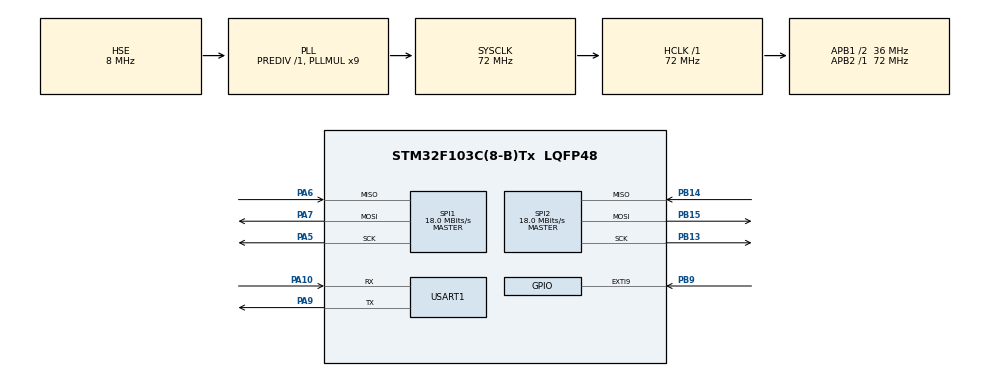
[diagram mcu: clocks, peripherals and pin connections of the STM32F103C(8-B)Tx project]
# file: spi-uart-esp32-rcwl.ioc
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Mcu.Family=STM32F1
RCC.PLLSourceVirtual=RCC_PLLSOURCE_HSE
PA6.Mode=Full_Duplex_Master
FREERTOS.Tasks01=defaultTask,24,128,StartDefaultTask,Default,NULL,Dynamic,NULL,NULL
PA7.Mode=Full_Duplex_Master
PD1-OSC_OUT.Mode=HSE-External-Oscillator
PA10.Mode=Asynchronous
SPI1.VirtualType=VM_MASTER
SPI2.VirtualType=VM_MASTER
PD0-OSC_IN.Signal=RCC_OSC_IN
RCC.APB1CLKDivider=RCC_HCLK_DIV2
PB15.Signal=SPI2_MOSI
PB13.Signal=SPI2_SCK
RCC.SYSCLKSource=RCC_SYSCLKSOURCE_PLLCLK
ProjectManager.StackSize=0x400
VP_FREERTOS_VS_CMSIS_V2.Mode=CMSIS_V2
PD1-OSC_OUT.Signal=RCC_OSC_OUT
PA13.Signal=SYS_JTMS-SWDIO
PA9.Mode=Asynchronous
ProjectManager.TargetToolchain=Makefile
SPI1.Direction=SPI_DIRECTION_2LINES
RCC.HCLKFreq_Value=72000000
RCC.APB2TimFreq_Value=72000000
PA9.Signal=USART1_TX
SPI1.CalculateBaudRate=18.0 MBits/s
PB9.GPIO_ModeDefaultEXTI=GPIO_MODE_IT_RISING
RCC.USBFreq_Value=72000000
RCC.AHBFreq_Value=72000000
PD0-OSC_IN.Mode=HSE-External-Oscillator
PB14.Signal=SPI2_MISO
PA5.Signal=SPI1_SCK
board=custom
RCC.PLLMUL=RCC_PLL_MUL9
PB15.Mode=Full_Duplex_Master
NVIC.SPI1_IRQn=true\:5\:0\:false\:false\:true\:true\:true\:true
RCC.APB2Freq_Value=72000000
SPI1.Mode=SPI_MODE_MASTER
PA14.Mode=Serial_Wire
PB14.Mode=Full_Duplex_Master
SPI2.CalculateBaudRate=18.0 MBits/s
NVIC.SPI2_IRQn=true\:5\:0\:false\:false\:true\:true\:true\:true
PA13.Mode=Serial_Wire
Mcu.Name=STM32F103C(8-B)Tx
RCC.SYSCLKFreq_VALUE=72000000
Mcu.Package=LQFP48
PB9.Signal=GPXTI9
PA6.Signal=SPI1_MISO
NVIC.TimeBase=TIM4_IRQn
SPI2.Mode=SPI_MODE_MASTER
USART1.VirtualMode=VM_ASYNC
NVIC.TimeBaseIP=TIM4
NVIC.EXTI9_5_IRQn=true\:5\:0\:false\:false\:true\:true\:true\:true
PA10.Signal=USART1_RX
PA14.Signal=SYS_JTCK-SWCLK
PB9.GPIO_PuPd=GPIO_PULLDOWN
ProjectManager.HeapSize=0x200
VP_SYS_VS_tim4.Mode=TIM4
NVIC.PriorityGroup=NVIC_PRIORITYGROUP_4
RCC.APB1TimFreq_Value=72000000
SPI2.Direction=SPI_DIRECTION_2LINES
PB13.Mode=Full_Duplex_Master
NVIC.USART1_IRQn=true\:5\:0\:false\:false\:true\:true\:true\:true
NVIC.TIM4_IRQn=true\:0\:0\:false\:false\:true\:false\:false\:true
RCC.APB1Freq_Value=36000000
SPI1.BaudRatePrescaler=SPI_BAUDRATEPRESCALER_4
NVIC.RCC_IRQn=true\:5\:0\:false\:false\:true\:true\:true\:false
PA5.Mode=Full_Duplex_Master
PA7.Signal=SPI1_MOSI

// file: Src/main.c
/* USER CODE BEGIN Header */
/**
  ******************************************************************************
  * @file           : main.c
  * @brief          : Main program body
  ******************************************************************************
  * @attention
  *
  * <h2><center>&copy; Copyright (c) 2020 STMicroelectronics.
  * All rights reserved.</center></h2>
  *
  * This software component is licensed by ST under BSD 3-Clause license,
  * the "License"; You may not use this file except in compliance with the
  * License. You may obtain a copy of the License at:
  *                        opensource.org/licenses/BSD-3-Clause
  *
  ******************************************************************************
  */
/* USER CODE END Header */

#include "main.h"
#include "cmsis_os.h"

/* USER CODE BEGIN Includes */
#include <FreeRTOSConfig.h>
#include <FreeRTOS.h>
#include <stdio.h>
#include <stdarg.h>
#include <string.h>
#include <task.h>
#include <event_groups.h>

/* USER CODE END Includes */

SPI_HandleTypeDef hspi1;
SPI_HandleTypeDef hspi2;

UART_HandleTypeDef huart1;

/* Definitions for defaultTask */
osThreadId_t defaultTaskHandle;
const osThreadAttr_t defaultTask_attributes = {
  .name = "defaultTask",
  .priority = (osPriority_t) osPriorityNormal,
  .stack_size = 128 * 4
};
/* USER CODE BEGIN PV */
static EventGroupHandle_t xEvtGrpGPIOInt;
#define EVENT_BIT_HUMAN_DETECT 0x01
#define EVENT_BITS_GPIO 0xFFFF
#define APP_VERSION "v0.0.1 20200419 BLUSOFT"
/* USER CODE END PV */

void SystemClock_Config(void);
static void MX_GPIO_Init(void);
static void MX_SPI1_Init(void);
static void MX_SPI2_Init(void);
static void MX_USART1_UART_Init(void);
void StartDefaultTask(void *argument);

/* USER CODE BEGIN PFP */
void StartDefaultTask(void *argument);
/* USER CODE END PFP */

/* USER CODE BEGIN 0 */
uint8_t tx_buff[128] = {0};
uint8_t rx_buff[128] = {0};
static void Println(char *fmt, ...){
    va_list argptr;
    va_start(argptr, fmt);
    int len = vsnprintf(tx_buff, 126, fmt, argptr);
    va_end(argptr);
    tx_buff[len++] = '\r';
    tx_buff[len++] = '\n';
    tx_buff[len] = 0;
    HAL_UART_Transmit_IT(&huart1, (uint8_t *)tx_buff, len);
}

static void Print(char *fmt, ...){
    va_list argptr;
    va_start(argptr, fmt);
    int len = vsnprintf(tx_buff, 128, fmt, argptr);
    va_end(argptr);
    HAL_UART_Transmit_IT(&huart1, (uint8_t *)tx_buff, len);
}
/* USER CODE END 0 */

int main(void)
{

  /* MCU Configuration--------------------------------------------------------*/

  /* Reset of all peripherals, Initializes the Flash interface and the Systick. */
  HAL_Init();

  /* Configure the system clock */
  SystemClock_Config();

  /* Initialize all configured peripherals */
  MX_GPIO_Init();
  MX_SPI1_Init();
  MX_SPI2_Init();
  MX_USART1_UART_Init();
  /* USER CODE BEGIN 2 */
  xEvtGrpGPIOInt = xEventGroupCreate();
  /* USER CODE END 2 */

  /* Init scheduler */
  osKernelInitialize();

  /* Create the thread(s) */
  /* creation of defaultTask */
  defaultTaskHandle = osThreadNew(StartDefaultTask, NULL, &defaultTask_attributes);

  /* Start scheduler */
  osKernelStart();

  /* We should never get here as control is now taken by the scheduler */
  /* Infinite loop */
  while (1)
  {

  }
}

void SystemClock_Config(void)
{
  RCC_OscInitTypeDef RCC_OscInitStruct = {0};
  RCC_ClkInitTypeDef RCC_ClkInitStruct = {0};

  /** Initializes the CPU, AHB and APB busses clocks
  */
  RCC_OscInitStruct.OscillatorType = RCC_OSCILLATORTYPE_HSE;
  RCC_OscInitStruct.HSEState = RCC_HSE_ON;
  RCC_OscInitStruct.HSEPredivValue = RCC_HSE_PREDIV_DIV1;
  RCC_OscInitStruct.HSIState = RCC_HSI_ON;
  RCC_OscInitStruct.PLL.PLLState = RCC_PLL_ON;
  RCC_OscInitStruct.PLL.PLLSource = RCC_PLLSOURCE_HSE;
  RCC_OscInitStruct.PLL.PLLMUL = RCC_PLL_MUL9;
  if (HAL_RCC_OscConfig(&RCC_OscInitStruct) != HAL_OK)
  {
    Error_Handler();
  }
  /** Initializes the CPU, AHB and APB busses clocks
  */
  RCC_ClkInitStruct.ClockType = RCC_CLOCKTYPE_HCLK|RCC_CLOCKTYPE_SYSCLK
                              |RCC_CLOCKTYPE_PCLK1|RCC_CLOCKTYPE_PCLK2;
  RCC_ClkInitStruct.SYSCLKSource = RCC_SYSCLKSOURCE_PLLCLK;
  RCC_ClkInitStruct.AHBCLKDivider = RCC_SYSCLK_DIV1;
  RCC_ClkInitStruct.APB1CLKDivider = RCC_HCLK_DIV2;
  RCC_ClkInitStruct.APB2CLKDivider = RCC_HCLK_DIV1;

  if (HAL_RCC_ClockConfig(&RCC_ClkInitStruct, FLASH_LATENCY_2) != HAL_OK)
  {
    Error_Handler();
  }
}

static void MX_SPI1_Init(void)
{

  /* SPI1 parameter configuration*/
  hspi1.Instance = SPI1;
  hspi1.Init.Mode = SPI_MODE_MASTER;
  hspi1.Init.Direction = SPI_DIRECTION_2LINES;
  hspi1.Init.DataSize = SPI_DATASIZE_8BIT;
  hspi1.Init.CLKPolarity = SPI_POLARITY_LOW;
  hspi1.Init.CLKPhase = SPI_PHASE_1EDGE;
  hspi1.Init.NSS = SPI_NSS_SOFT;
  hspi1.Init.BaudRatePrescaler = SPI_BAUDRATEPRESCALER_4;
  hspi1.Init.FirstBit = SPI_FIRSTBIT_MSB;
  hspi1.Init.TIMode = SPI_TIMODE_DISABLE;
  hspi1.Init.CRCCalculation = SPI_CRCCALCULATION_DISABLE;
  hspi1.Init.CRCPolynomial = 10;
  if (HAL_SPI_Init(&hspi1) != HAL_OK)
  {
    Error_Handler();
  }

}

static void MX_SPI2_Init(void)
{

  /* SPI2 parameter configuration*/
  hspi2.Instance = SPI2;
  hspi2.Init.Mode = SPI_MODE_MASTER;
  hspi2.Init.Direction = SPI_DIRECTION_2LINES;
  hspi2.Init.DataSize = SPI_DATASIZE_8BIT;
  hspi2.Init.CLKPolarity = SPI_POLARITY_LOW;
  hspi2.Init.CLKPhase = SPI_PHASE_1EDGE;
  hspi2.Init.NSS = SPI_NSS_SOFT;
  hspi2.Init.BaudRatePrescaler = SPI_BAUDRATEPRESCALER_2;
  hspi2.Init.FirstBit = SPI_FIRSTBIT_MSB;
  hspi2.Init.TIMode = SPI_TIMODE_DISABLE;
  hspi2.Init.CRCCalculation = SPI_CRCCALCULATION_DISABLE;
  hspi2.Init.CRCPolynomial = 10;
  if (HAL_SPI_Init(&hspi2) != HAL_OK)
  {
    Error_Handler();
  }

}

static void MX_USART1_UART_Init(void)
{

  huart1.Instance = USART1;
  huart1.Init.BaudRate = 115200;
  huart1.Init.WordLength = UART_WORDLENGTH_8B;
  huart1.Init.StopBits = UART_STOPBITS_1;
  huart1.Init.Parity = UART_PARITY_NONE;
  huart1.Init.Mode = UART_MODE_TX_RX;
  huart1.Init.HwFlowCtl = UART_HWCONTROL_NONE;
  huart1.Init.OverSampling = UART_OVERSAMPLING_16;
  if (HAL_UART_Init(&huart1) != HAL_OK)
  {
    Error_Handler();
  }

}

static void MX_GPIO_Init(void)
{
  GPIO_InitTypeDef GPIO_InitStruct = {0};

  /* GPIO Ports Clock Enable */
  __HAL_RCC_GPIOD_CLK_ENABLE();
  __HAL_RCC_GPIOA_CLK_ENABLE();
  __HAL_RCC_GPIOB_CLK_ENABLE();

  /*Configure GPIO pin : PB9 */
  GPIO_InitStruct.Pin = GPIO_PIN_9;
  GPIO_InitStruct.Mode = GPIO_MODE_IT_RISING;
  GPIO_InitStruct.Pull = GPIO_PULLDOWN;
  HAL_GPIO_Init(GPIOB, &GPIO_InitStruct);

  /* EXTI interrupt init*/
  HAL_NVIC_SetPriority(EXTI9_5_IRQn, 5, 0);
  HAL_NVIC_EnableIRQ(EXTI9_5_IRQn);

}

/* USER CODE BEGIN 4 */
void HAL_GPIO_EXTI_Callback(uint16_t pinNum){
  if(pinNum == GPIO_PIN_9){
    xEventGroupSetBitsFromISR(xEvtGrpGPIOInt, EVENT_BIT_HUMAN_DETECT, pdFALSE);
  }
}
/* USER CODE END 4 */

void StartDefaultTask(void *argument)
{
  /* USER CODE BEGIN 5 */
  /* Infinite loop */
  uint32_t totalCnt = 0;
  uint32_t state = 0; // 0 - init; 1 - gpio int too quick; 2 - undef; 4 - undef; 8 - undef;
  const char *const STR_MOTION[] = {"no motion", "motion detected"};
  Println("system started");
  TickType_t now = xTaskGetTickCount();
  TickType_t lastTick = now;

  for(int i = 0; ; i++)
  {
    EventBits_t bits = xEventGroupWaitBits(xEvtGrpGPIOInt, EVENT_BITS_GPIO, pdTRUE, pdFALSE, 15000/portTICK_PERIOD_MS);
    const char* const motionStr = bits & EVENT_BIT_HUMAN_DETECT? STR_MOTION[1]:STR_MOTION[0];
    now = xTaskGetTickCount();
    int32_t delta = (now - lastTick)/portTICK_PERIOD_MS;
    // TOO QUICK INTERRUPT
    if(delta <= 1000){
        if(state & 0x01 == 0){
            // TODO: why not printed out??
            Println("too quick, suppressed: %d, %d. %s", i, delta, motionStr);
            state != 0x01;
        }else{
            // MUSTN'T print to uart.
        }
    }else{
        // recover?
        if(state & 0x1) {
            // clear supporession bit
            state = state & (~(uint32_t)0x1);
            Println("recovered: %d, %d. %s", i, delta, motionStr);
        }else{
            Println("normal: %d, %d. %s", i, delta, motionStr);
        }
    }

    lastTick = now;
  }
  /* USER CODE END 5 */
}

 /**
  * @brief  Period elapsed callback in non blocking mode
  * @note   This function is called  when TIM4 interrupt took place, inside
  * HAL_TIM_IRQHandler(). It makes a direct call to HAL_IncTick() to increment
  * a global variable "uwTick" used as application time base.
  * @param  htim : TIM handle
  * @retval None
  */
void HAL_TIM_PeriodElapsedCallback(TIM_HandleTypeDef *htim)
{
  if (htim->Instance == TIM4) {
    HAL_IncTick();
  }
}

void Error_Handler(void)
{
}

/************************ (C) COPYRIGHT STMicroelectronics *****END OF FILE****/
